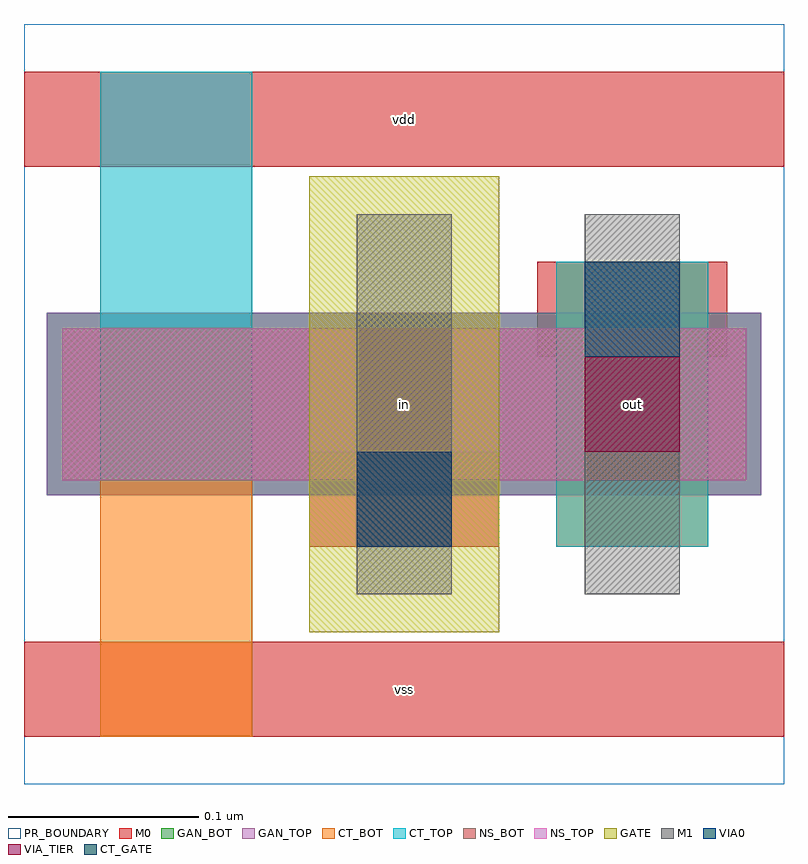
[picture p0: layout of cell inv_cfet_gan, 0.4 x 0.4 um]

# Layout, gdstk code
import gdstk
lib = gdstk.Library(unit=1e-6, precision=1e-09)
def R(c, l, rs):  # rectangles x0, y0, x1, y1
    for r in rs: c.add(gdstk.rectangle(r[:2], r[2:], *l))
PR_BOUNDARY = (1, 0)
NS_BOT = (10, 0)
NS_TOP = (11, 0)
GATE = (20, 0)
CT_GATE = (21, 0)
CT_BOT = (30, 0)
CT_TOP = (31, 0)
VIA_TIER = (35, 0)
M0 = (40, 0)
VIA0 = (41, 0)
M1 = (42, 0)
GAN_BOT = (55, 0)
GAN_TOP = (56, 0)

inv_cfet_gan = lib.new_cell('inv_cfet_gan')
R(inv_cfet_gan, PR_BOUNDARY, [(0,0,0.4,0.4)])
R(inv_cfet_gan, NS_BOT, [(0.02,0.16,0.38,0.24)])
R(inv_cfet_gan, NS_TOP, [(0.02,0.16,0.38,0.24)])
R(inv_cfet_gan, GATE, [(0.15,0.08,0.25,0.32)])
R(inv_cfet_gan, CT_GATE, [(0.175,0.125,0.225,0.175)])
R(inv_cfet_gan, CT_BOT, [(0.04,0.025,0.12,0.24), (0.28,0.125,0.36,0.275)])
R(inv_cfet_gan, CT_TOP, [(0.28,0.125,0.36,0.275), (0.04,0.16,0.12,0.375)])
R(inv_cfet_gan, VIA_TIER, [(0.295,0.175,0.345,0.225)])
R(inv_cfet_gan, M0, [(0,0.025,0.4,0.075), (0.15,0.125,0.25,0.175), (0.27,0.225,0.37,0.275), (0,0.325,0.4,0.375)])
R(inv_cfet_gan, VIA0, [(0.175,0.125,0.225,0.175), (0.295,0.225,0.345,0.275)])
R(inv_cfet_gan, M1, [(0.175,0.1,0.225,0.3), (0.295,0.1,0.345,0.3)])
R(inv_cfet_gan, GAN_BOT, [(0.012,0.152,0.388,0.248)])
R(inv_cfet_gan, GAN_TOP, [(0.012,0.152,0.388,0.248)])
inv_cfet_gan.add(gdstk.Label('in', (0.2,0.2), layer=42, texttype=1))
inv_cfet_gan.add(gdstk.Label('out', (0.32,0.2), layer=42, texttype=1))
inv_cfet_gan.add(gdstk.Label('vdd', (0.2,0.35), layer=40, texttype=1))
inv_cfet_gan.add(gdstk.Label('vss', (0.2,0.05), layer=40, texttype=1))

lib.write_gds('inv_cfet_gan.gds')
